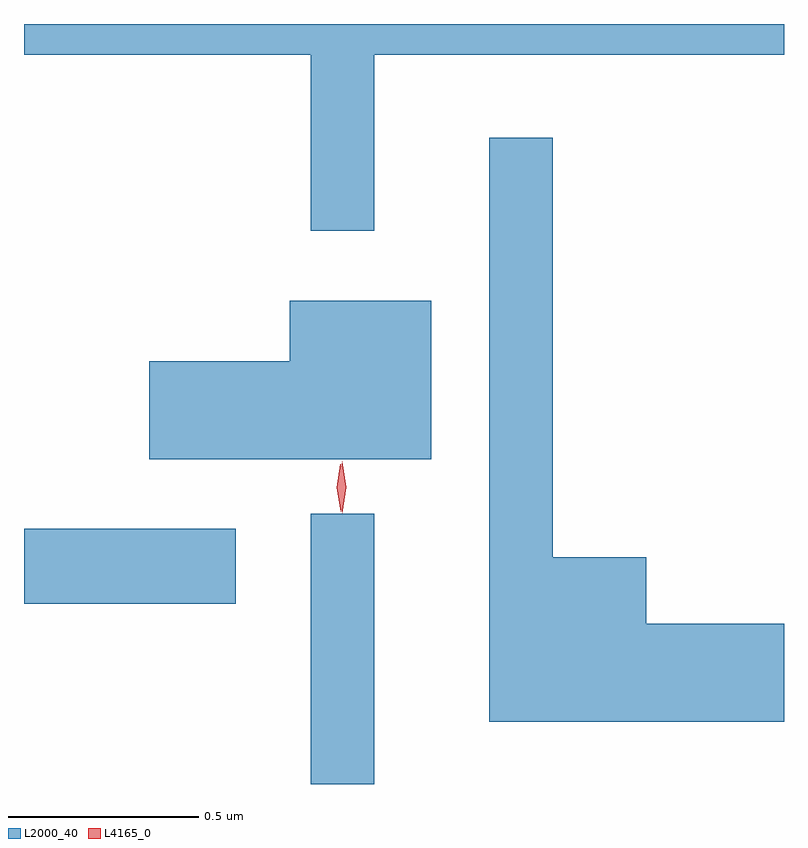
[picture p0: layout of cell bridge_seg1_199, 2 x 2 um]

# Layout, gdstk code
import gdstk
lib = gdstk.Library(unit=1e-6, precision=1e-09)
def R(c, l, rs):  # rectangles x0, y0, x1, y1
    for r in rs: c.add(gdstk.rectangle(r[:2], r[2:], *l))
def P(c, l, *ps):  # polygons
    for p in ps: c.add(gdstk.Polygon(p, *l))
L2000_40 = (2000, 40)
L4165_0 = (4165, 0)

bridge_seg1_199 = lib.new_cell('bridge_seg1_199')
R(bridge_seg1_199, L2000_40, [(831.401,915.417,831.569,916.128), (830.647,915.891,831.204,916.089)])
P(bridge_seg1_199, L2000_40, [(831.569,917.336),(832.647,917.336),(832.647,917.417),(830.647,917.417),(830.647,917.336),(831.401,917.336),(831.401,916.873),(831.569,916.873)],
  [(832.647,915.839),(832.284,915.839),(832.284,916.014),(832.039,916.014),(832.039,917.118),(831.871,917.118),(831.871,915.581),(832.647,915.581)],
  [(831.719,916.689),(831.346,916.689),(831.346,916.529),(830.976,916.529),(830.976,916.271),(831.719,916.271)])
P(bridge_seg1_199, L4165_0, [(831.48,916.133),(831.48,916.133),(831.47,916.196),(831.479,916.259),(831.48,916.259),(831.48,916.259),(831.49,916.196),(831.481,916.133)],
  [(831.484,916.13),(831.475,916.198),(831.484,916.265),(831.484,916.266),(831.485,916.265),(831.495,916.198),(831.485,916.13),(831.485,916.13)])

lib.write_gds('bridge_seg1_199.gds')
